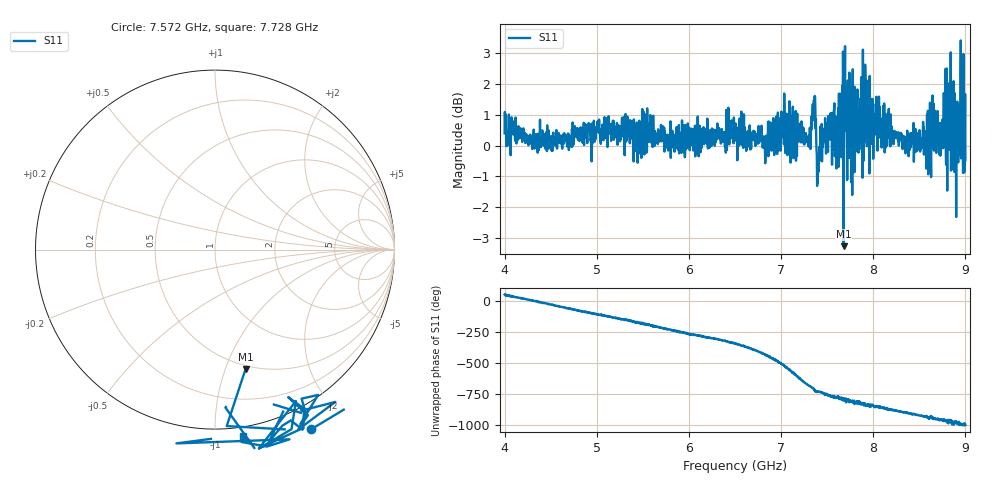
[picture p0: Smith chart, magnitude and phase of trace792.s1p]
! Created with skrf 1.8.0 (http://scikit-rf.org).
# Hz S RI R 50.0
!freq ReS11 ImS11
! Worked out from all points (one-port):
!   1601 points, 4 GHz to 9 GHz, reference 50 ohm
!   lowest |S11| = -3.3 dB at 7.678 GHz (marker M1), VSWR 5.39, Z = 23.3 - j58.8 ohm
!   |S11| at or under -10 dB: nowhere
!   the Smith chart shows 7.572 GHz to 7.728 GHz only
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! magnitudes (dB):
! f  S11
! 4 GHz  0.4
! 4.625 GHz  -0.1
! 5.25 GHz  0.3
! 5.875 GHz  0.2
! 6.5 GHz  0.3
! 6.825 GHz  0.0
! 7.012 GHz  0.5
! 7.125 GHz  0.9
! 7.294 GHz  0.0
! 7.353 GHz  1.0
! 7.409 GHz  -0.5
! 7.453 GHz  0.1
! 7.553 GHz  -0.6
! 7.606 GHz  0.7
! 7.678 GHz  -3.3
! 7.75 GHz  0.4
! 7.769 GHz  -0.1
! 7.928 GHz  1.3
! 7.981 GHz  0.1
! 8.05 GHz  1.3
! 8.375 GHz  0.1
! 8.588 GHz  -0.2
! 8.656 GHz  1.4
! 8.728 GHz  -0.3
! 8.816 GHz  0.4
! 8.919 GHz  -0.3
! 8.959 GHz  2.3
! 9 GHz  -0.5
